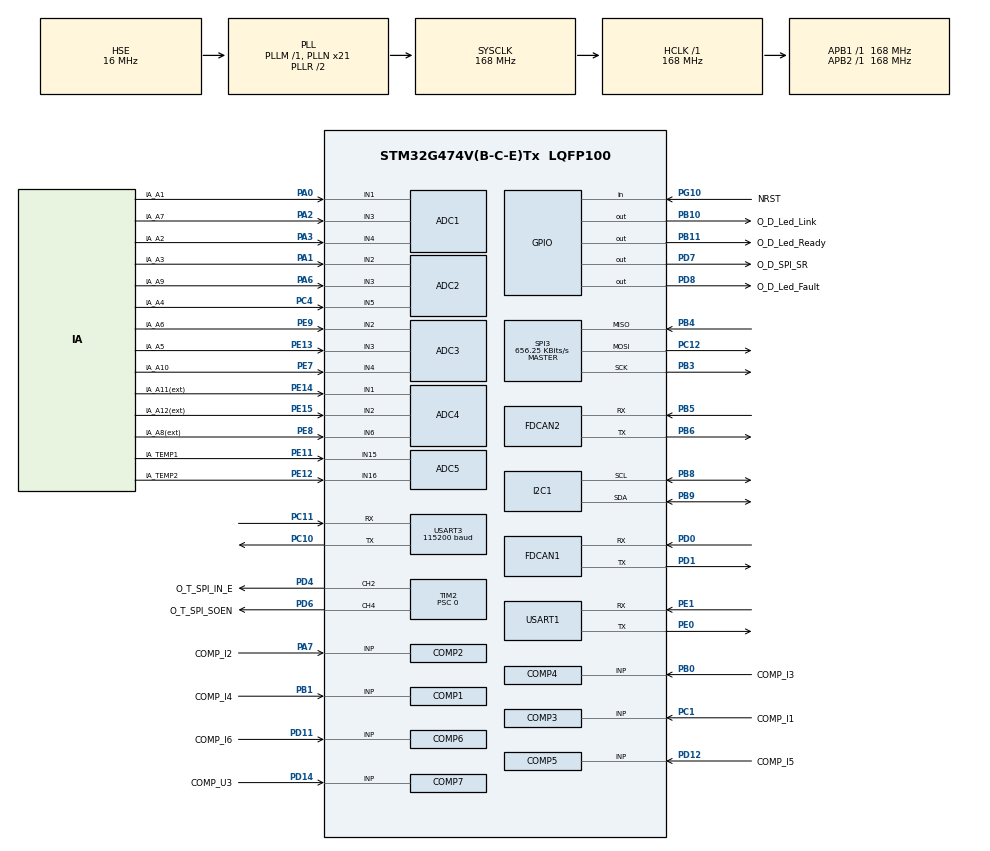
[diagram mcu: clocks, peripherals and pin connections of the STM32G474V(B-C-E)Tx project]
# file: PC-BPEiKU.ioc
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ADC1.EnableInjectedConversion=ENABLE
ADC1.EnableInjectedOversampling=ENABLE
ADC1.EnableRegularConversion=DISABLE
ADC1.ExternalTrigInjecConv=ADC_EXTERNALTRIGINJEC_T3_TRGO
ADC1.InjNumberOfConversion=3
ADC1.InjOversamplingRatio=ADC_OVERSAMPLING_RATIO_16
ADC1.InjectedChannel-6\#ChannelInjectedConversion=ADC_CHANNEL_1
ADC1.InjectedChannel-7\#ChannelInjectedConversion=ADC_CHANNEL_3
ADC1.InjectedChannel-8\#ChannelInjectedConversion=ADC_CHANNEL_4
ADC1.InjectedOffsetNumber-6\#ChannelInjectedConversion=ADC_OFFSET_NONE
ADC1.InjectedOffsetNumber-7\#ChannelInjectedConversion=ADC_OFFSET_NONE
ADC1.InjectedOffsetNumber-8\#ChannelInjectedConversion=ADC_OFFSET_NONE
ADC1.InjectedRank-6\#ChannelInjectedConversion=1
ADC1.InjectedRank-7\#ChannelInjectedConversion=2
ADC1.InjectedRank-8\#ChannelInjectedConversion=3
ADC1.InjectedSamplingTime-6\#ChannelInjectedConversion=ADC_SAMPLETIME_2CYCLES_5
ADC1.InjectedSamplingTime-7\#ChannelInjectedConversion=ADC_SAMPLETIME_2CYCLES_5
ADC1.InjectedSamplingTime-8\#ChannelInjectedConversion=ADC_SAMPLETIME_2CYCLES_5
ADC1.Overrun=ADC_OVR_DATA_OVERWRITTEN
ADC1.Rank1_Channel=ADC_CHANNEL_1
ADC1.Rank2_Channel=ADC_CHANNEL_3
ADC1.Rank3_Channel=ADC_CHANNEL_4
ADC1.master=1
ADC2.EnableInjectedConversion=ENABLE
ADC2.EnableInjectedOversampling=ENABLE
ADC2.EnableRegularConversion=DISABLE
ADC2.ExternalTrigInjecConv=ADC_EXTERNALTRIGINJEC_T3_TRGO
ADC2.InjNumberOfConversion=3
ADC2.InjOversamplingRatio=ADC_OVERSAMPLING_RATIO_16
ADC2.InjectedChannel-11\#ChannelInjectedConversion=ADC_CHANNEL_2
ADC2.InjectedChannel-12\#ChannelInjectedConversion=ADC_CHANNEL_3
ADC2.InjectedChannel-13\#ChannelInjectedConversion=ADC_CHANNEL_5
ADC2.InjectedOffsetNumber-11\#ChannelInjectedConversion=ADC_OFFSET_NONE
ADC2.InjectedOffsetNumber-12\#ChannelInjectedConversion=ADC_OFFSET_NONE
ADC2.InjectedOffsetNumber-13\#ChannelInjectedConversion=ADC_OFFSET_NONE
ADC2.InjectedRank-11\#ChannelInjectedConversion=1
ADC2.InjectedRank-12\#ChannelInjectedConversion=2
ADC2.InjectedRank-13\#ChannelInjectedConversion=3
ADC2.InjectedSamplingTime-11\#ChannelInjectedConversion=ADC_SAMPLETIME_2CYCLES_5
ADC2.InjectedSamplingTime-12\#ChannelInjectedConversion=ADC_SAMPLETIME_2CYCLES_5
ADC2.InjectedSamplingTime-13\#ChannelInjectedConversion=ADC_SAMPLETIME_2CYCLES_5
ADC2.Overrun=ADC_OVR_DATA_OVERWRITTEN
ADC2.Rank1_Channel=ADC_CHANNEL_2
ADC2.Rank2_Channel=ADC_CHANNEL_3
ADC2.Rank3_Channel=ADC_CHANNEL_5
ADC3.EnableInjectedConversion=ENABLE
ADC3.EnableInjectedOversampling=ENABLE
ADC3.EnableRegularConversion=DISABLE
ADC3.ExternalTrigInjecConv=ADC_EXTERNALTRIGINJEC_T3_TRGO
ADC3.InjNumberOfConversion=3
ADC3.InjOversamplingRatio=ADC_OVERSAMPLING_RATIO_16
ADC3.InjectedChannel-10\#ChannelInjectedConversion=ADC_CHANNEL_2
ADC3.InjectedChannel-11\#ChannelInjectedConversion=ADC_CHANNEL_3
ADC3.InjectedChannel-12\#ChannelInjectedConversion=ADC_CHANNEL_4
ADC3.InjectedOffsetNumber-10\#ChannelInjectedConversion=ADC_OFFSET_NONE
ADC3.InjectedOffsetNumber-11\#ChannelInjectedConversion=ADC_OFFSET_NONE
ADC3.InjectedOffsetNumber-12\#ChannelInjectedConversion=ADC_OFFSET_NONE
ADC3.InjectedRank-10\#ChannelInjectedConversion=1
ADC3.InjectedRank-11\#ChannelInjectedConversion=2
ADC3.InjectedRank-12\#ChannelInjectedConversion=3
ADC3.InjectedSamplingTime-10\#ChannelInjectedConversion=ADC_SAMPLETIME_2CYCLES_5
ADC3.InjectedSamplingTime-11\#ChannelInjectedConversion=ADC_SAMPLETIME_2CYCLES_5
ADC3.InjectedSamplingTime-12\#ChannelInjectedConversion=ADC_SAMPLETIME_2CYCLES_5
ADC3.Overrun=ADC_OVR_DATA_OVERWRITTEN
ADC3.Rank1_Channel=ADC_CHANNEL_2
ADC3.Rank2_Channel=ADC_CHANNEL_3
ADC3.Rank3_Channel=ADC_CHANNEL_4
ADC3.master=1
ADC4.EnableInjectedConversion=ENABLE
ADC4.EnableInjectedOversampling=ENABLE
ADC4.EnableRegularConversion=DISABLE
ADC4.ExternalTrigInjecConv=ADC_EXTERNALTRIGINJEC_T3_TRGO
ADC4.InjNumberOfConversion=3
ADC4.InjOversamplingRatio=ADC_OVERSAMPLING_RATIO_16
ADC4.InjectedChannel-1\#ChannelInjectedConversion=ADC_CHANNEL_1
ADC4.InjectedChannel-2\#ChannelInjectedConversion=ADC_CHANNEL_2
ADC4.InjectedChannel-3\#ChannelInjectedConversion=ADC_CHANNEL_6
ADC4.InjectedOffsetNumber-1\#ChannelInjectedConversion=ADC_OFFSET_NONE
ADC4.InjectedOffsetNumber-2\#ChannelInjectedConversion=ADC_OFFSET_NONE
ADC4.InjectedOffsetNumber-3\#ChannelInjectedConversion=ADC_OFFSET_NONE
ADC4.InjectedRank-1\#ChannelInjectedConversion=1
ADC4.InjectedRank-2\#ChannelInjectedConversion=2
ADC4.InjectedRank-3\#ChannelInjectedConversion=3
ADC4.InjectedSamplingTime-1\#ChannelInjectedConversion=ADC_SAMPLETIME_2CYCLES_5
ADC4.InjectedSamplingTime-2\#ChannelInjectedConversion=ADC_SAMPLETIME_2CYCLES_5
ADC4.InjectedSamplingTime-3\#ChannelInjectedConversion=ADC_SAMPLETIME_2CYCLES_5
ADC4.Overrun=ADC_OVR_DATA_OVERWRITTEN
ADC4.Rank1_Channel=ADC_CHANNEL_1
ADC4.Rank2_Channel=ADC_CHANNEL_2
ADC4.Rank3_Channel=ADC_CHANNEL_6
ADC5.ClockPrescaler=ADC_CLOCK_SYNC_PCLK_DIV4
ADC5.EnableInjectedConversion=ENABLE
ADC5.EnableInjectedOversampling=ENABLE
ADC5.EnableRegularConversion=DISABLE
ADC5.ExternalTrigInjecConv=ADC_EXTERNALTRIGINJEC_T3_TRGO
ADC5.InjNumberOfConversion=3
ADC5.InjOversamplingRatio=ADC_OVERSAMPLING_RATIO_16
ADC5.InjectedChannel-1\#ChannelInjectedConversion=ADC_CHANNEL_TEMPSENSOR_ADC5
ADC5.InjectedChannel-2\#ChannelInjectedConversion=ADC_CHANNEL_15
ADC5.InjectedChannel-3\#ChannelInjectedConversion=ADC_CHANNEL_16
ADC5.InjectedOffsetNumber-1\#ChannelInjectedConversion=ADC_OFFSET_NONE
ADC5.InjectedOffsetNumber-2\#ChannelInjectedConversion=ADC_OFFSET_NONE
ADC5.InjectedOffsetNumber-3\#ChannelInjectedConversion=ADC_OFFSET_NONE
ADC5.InjectedRank-1\#ChannelInjectedConversion=1
ADC5.InjectedRank-2\#ChannelInjectedConversion=2
ADC5.InjectedRank-3\#ChannelInjectedConversion=3
ADC5.InjectedSamplingTime-1\#ChannelInjectedConversion=ADC_SAMPLETIME_2CYCLES_5
ADC5.InjectedSamplingTime-2\#ChannelInjectedConversion=ADC_SAMPLETIME_2CYCLES_5
ADC5.InjectedSamplingTime-3\#ChannelInjectedConversion=ADC_SAMPLETIME_2CYCLES_5
ADC5.Overrun=ADC_OVR_DATA_OVERWRITTEN
ADC5.Rank2_Channel=ADC_CHANNEL_15
ADC5.Rank3_Channel=ADC_CHANNEL_16
COMP1.Hysteresis=COMP_HYSTERESIS_HIGH
COMP1.TriggerMode=COMP_TRIGGERMODE_IT_FALLING
COMP2.Hysteresis=COMP_HYSTERESIS_HIGH
COMP2.TriggerMode=COMP_TRIGGERMODE_IT_FALLING
COMP3.Hysteresis=COMP_HYSTERESIS_HIGH
COMP3.TriggerMode=COMP_TRIGGERMODE_IT_FALLING
COMP4.Hysteresis=COMP_HYSTERESIS_HIGH
COMP4.TriggerMode=COMP_TRIGGERMODE_IT_FALLING
COMP5.Hysteresis=COMP_HYSTERESIS_HIGH
COMP5.TriggerMode=COMP_TRIGGERMODE_IT_FALLING
COMP6.Hysteresis=COMP_HYSTERESIS_HIGH
COMP6.TriggerMode=COMP_TRIGGERMODE_IT_FALLING
COMP7.Hysteresis=COMP_HYSTERESIS_HIGH
COMP7.TriggerMode=COMP_TRIGGERMODE_IT_FALLING
DAC1.DAC_Channel-DAC_OUT2_Int=DAC_CHANNEL_2
DAC4.DAC_Channel-DAC_OUT2_Int=DAC_CHANNEL_2
Dma.Request0=USART3_RX
Dma.Request1=USART3_TX
Dma.Request2=USART1_RX
Dma.Request3=USART1_TX
Dma.Request4=SPI3_RX
Dma.Request5=SPI3_TX
Dma.SPI3_RX.4.Direction=DMA_PERIPH_TO_MEMORY
Dma.SPI3_RX.4.EventEnable=DISABLE
Dma.SPI3_RX.4.Instance=DMA1_Channel5
Dma.SPI3_RX.4.MemDataAlignment=DMA_MDATAALIGN_BYTE
Dma.SPI3_RX.4.MemInc=DMA_MINC_ENABLE
Dma.SPI3_RX.4.Mode=DMA_NORMAL
Dma.SPI3_RX.4.PeriphDataAlignment=DMA_PDATAALIGN_BYTE
Dma.SPI3_RX.4.PeriphInc=DMA_PINC_DISABLE
Dma.SPI3_RX.4.Polarity=HAL_DMAMUX_REQ_GEN_RISING
Dma.SPI3_RX.4.Priority=DMA_PRIORITY_LOW
Dma.SPI3_RX.4.RequestNumber=1
Dma.SPI3_RX.4.SignalID=NONE
Dma.SPI3_RX.4.SyncEnable=DISABLE
Dma.SPI3_RX.4.SyncPolarity=HAL_DMAMUX_SYNC_NO_EVENT
Dma.SPI3_RX.4.SyncRequestNumber=1
Dma.SPI3_RX.4.SyncSignalID=NONE
Dma.SPI3_TX.5.Direction=DMA_MEMORY_TO_PERIPH
Dma.SPI3_TX.5.EventEnable=DISABLE
Dma.SPI3_TX.5.Instance=DMA1_Channel6
Dma.SPI3_TX.5.MemDataAlignment=DMA_MDATAALIGN_BYTE
Dma.SPI3_TX.5.MemInc=DMA_MINC_ENABLE
Dma.SPI3_TX.5.Mode=DMA_NORMAL
Dma.SPI3_TX.5.PeriphDataAlignment=DMA_PDATAALIGN_BYTE
Dma.SPI3_TX.5.PeriphInc=DMA_PINC_DISABLE
Dma.SPI3_TX.5.Polarity=HAL_DMAMUX_REQ_GEN_RISING
Dma.SPI3_TX.5.Priority=DMA_PRIORITY_LOW
Dma.SPI3_TX.5.RequestNumber=1
Dma.SPI3_TX.5.SignalID=NONE
Dma.SPI3_TX.5.SyncEnable=DISABLE
Dma.SPI3_TX.5.SyncPolarity=HAL_DMAMUX_SYNC_NO_EVENT
Dma.SPI3_TX.5.SyncRequestNumber=1
Dma.SPI3_TX.5.SyncSignalID=NONE
Dma.USART1_RX.2.Direction=DMA_PERIPH_TO_MEMORY
Dma.USART1_RX.2.EventEnable=DISABLE
Dma.USART1_RX.2.Instance=DMA1_Channel3
Dma.USART1_RX.2.MemDataAlignment=DMA_MDATAALIGN_BYTE
Dma.USART1_RX.2.MemInc=DMA_MINC_ENABLE
Dma.USART1_RX.2.Mode=DMA_NORMAL
Dma.USART1_RX.2.PeriphDataAlignment=DMA_PDATAALIGN_BYTE
Dma.USART1_RX.2.PeriphInc=DMA_PINC_DISABLE
Dma.USART1_RX.2.Polarity=HAL_DMAMUX_REQ_GEN_RISING
Dma.USART1_RX.2.Priority=DMA_PRIORITY_LOW
Dma.USART1_RX.2.RequestNumber=1
Dma.USART1_RX.2.SignalID=NONE
Dma.USART1_RX.2.SyncEnable=DISABLE
Dma.USART1_RX.2.SyncPolarity=HAL_DMAMUX_SYNC_NO_EVENT
Dma.USART1_RX.2.SyncRequestNumber=1
Dma.USART1_RX.2.SyncSignalID=NONE
Dma.USART1_TX.3.Direction=DMA_MEMORY_TO_PERIPH
Dma.USART1_TX.3.EventEnable=DISABLE
Dma.USART1_TX.3.Instance=DMA1_Channel7
Dma.USART1_TX.3.MemDataAlignment=DMA_MDATAALIGN_BYTE
Dma.USART1_TX.3.MemInc=DMA_MINC_ENABLE
Dma.USART1_TX.3.Mode=DMA_NORMAL
Dma.USART1_TX.3.PeriphDataAlignment=DMA_PDATAALIGN_BYTE
Dma.USART1_TX.3.PeriphInc=DMA_PINC_DISABLE
Dma.USART1_TX.3.Polarity=HAL_DMAMUX_REQ_GEN_RISING
Dma.USART1_TX.3.Priority=DMA_PRIORITY_LOW
Dma.USART1_TX.3.RequestNumber=1
Dma.USART1_TX.3.SignalID=NONE
Dma.USART1_TX.3.SyncEnable=DISABLE
Dma.USART1_TX.3.SyncPolarity=HAL_DMAMUX_SYNC_NO_EVENT
Dma.USART1_TX.3.SyncRequestNumber=1
Dma.USART1_TX.3.SyncSignalID=NONE
Dma.USART3_RX.0.Direction=DMA_PERIPH_TO_MEMORY
Dma.USART3_RX.0.EventEnable=DISABLE
Dma.USART3_RX.0.Instance=DMA1_Channel1
Dma.USART3_RX.0.MemDataAlignment=DMA_MDATAALIGN_BYTE
Dma.USART3_RX.0.MemInc=DMA_MINC_ENABLE
Dma.USART3_RX.0.Mode=DMA_NORMAL
Dma.USART3_RX.0.PeriphDataAlignment=DMA_PDATAALIGN_BYTE
Dma.USART3_RX.0.PeriphInc=DMA_PINC_DISABLE
Dma.USART3_RX.0.Polarity=HAL_DMAMUX_REQ_GEN_RISING
Dma.USART3_RX.0.Priority=DMA_PRIORITY_LOW
Dma.USART3_RX.0.RequestNumber=1
Dma.USART3_RX.0.SignalID=NONE
Dma.USART3_RX.0.SyncEnable=DISABLE
Dma.USART3_RX.0.SyncPolarity=HAL_DMAMUX_SYNC_NO_EVENT
Dma.USART3_RX.0.SyncRequestNumber=1
Dma.USART3_RX.0.SyncSignalID=NONE
Dma.USART3_TX.1.Direction=DMA_MEMORY_TO_PERIPH
Dma.USART3_TX.1.EventEnable=DISABLE
Dma.USART3_TX.1.Instance=DMA1_Channel2
Dma.USART3_TX.1.MemDataAlignment=DMA_MDATAALIGN_BYTE
Dma.USART3_TX.1.MemInc=DMA_MINC_ENABLE
Dma.USART3_TX.1.Mode=DMA_NORMAL
Dma.USART3_TX.1.PeriphDataAlignment=DMA_PDATAALIGN_BYTE
Dma.USART3_TX.1.PeriphInc=DMA_PINC_DISABLE
Dma.USART3_TX.1.Polarity=HAL_DMAMUX_REQ_GEN_RISING
Dma.USART3_TX.1.Priority=DMA_PRIORITY_LOW
Dma.USART3_TX.1.RequestNumber=1
Dma.USART3_TX.1.SignalID=NONE
Dma.USART3_TX.1.SyncEnable=DISABLE
Dma.USART3_TX.1.SyncPolarity=HAL_DMAMUX_SYNC_NO_EVENT
Dma.USART3_TX.1.SyncRequestNumber=1
Dma.USART3_TX.1.SyncSignalID=NONE
FDCAN1.AutoRetransmission=ENABLE
FDCAN1.CalculateBaudRateNominal=500000
FDCAN1.CalculateTimeBitNominal=2000
FDCAN1.CalculateTimeQuantumNominal=125.0
FDCAN1.ClockDivider=FDCAN_CLOCK_DIV1
FDCAN1.DataPrescaler=_CAN_PSC
FDCAN1.DataSyncJumpWidth=1
FDCAN1.DataTimeSeg1=_CAN_SEG1
FDCAN1.DataTimeSeg2=_CAN_SEG2
FDCAN1.ExtFiltersNbr=0
FDCAN1.FrameFormat=FDCAN_FRAME_CLASSIC
FDCAN1.Mode=FDCAN_MODE_NORMAL
FDCAN1.NominalPrescaler=_CAN_PSC
FDCAN1.NominalSyncJumpWidth=1
FDCAN1.NominalTimeSeg1=_CAN_SEG1
FDCAN1.NominalTimeSeg2=_CAN_SEG2
FDCAN1.ProtocolException=DISABLE
FDCAN1.StdFiltersNbr=1
FDCAN1.TransmitPause=DISABLE
FDCAN1.TxFifoQueueMode=FDCAN_TX_FIFO_OPERATION
FDCAN2.AutoRetransmission=ENABLE
FDCAN2.CalculateBaudRateNominal=500000
FDCAN2.CalculateTimeBitNominal=2000
FDCAN2.CalculateTimeQuantumNominal=125.0
FDCAN2.DataPrescaler=_CAN_PSC
FDCAN2.DataTimeSeg1=_CAN_SEG1
FDCAN2.DataTimeSeg2=_CAN_SEG2
FDCAN2.NominalPrescaler=_CAN_PSC
FDCAN2.NominalTimeSeg1=_CAN_SEG1
FDCAN2.NominalTimeSeg2=_CAN_SEG2
FDCAN2.StdFiltersNbr=1
HRTIM1.CompareUnit1-No_output_TA=__NULL
HRTIM1.CompareUnit1-No_output_TB=__NULL
HRTIM1.ModeTimeBase-No_output_TC=HRTIM_MODE_CONTINUOUS
HRTIM1.Periode_TA=21000
HRTIM1.Periode_TC=27999
HRTIM1.PrescalerRatio_TA=HRTIM_PRESCALERRATIO_DIV1
HRTIM1.PrescalerRatio_TC=HRTIM_PRESCALERRATIO_DIV1
HRTIM1.UpDownMode-No_output_TC=HRTIM_TIMERUPDOWNMODE_UP
I2C1.Timing=0x60505F8C
Mcu.Family=STM32G4
Mcu.Name=STM32G474V(B-C-E)Tx
Mcu.Package=LQFP100
Mcu.UserConstants=_TIM1K_ARR,(16800-1);_CAN_PSC,_CAN_500_PSC;_TIM1K_PSC,(10-1);_TIM_SPI_INOUT_20KHZ_INE,1000;_HRTIM_PERIOD,10500;_TIM_SPI_INOUT_20KHZ_ARR,(20000-1);_TIM_SPI_INOUT_20KHZ_SOEN,(18000);_CAN_SEG1,_CAN_500_SEG1;_TIM_SPI_INOUT_20KHZ_START,1600;_LAMP_TIM_ARR,8400-1;_CAN_SEG2,_CAN_500_SEG2;_ADC_TIM,_ADC_TIM_24000;_CAN_500_PSC,21;_ADC_TIM_24000,(7000-1);_LED3_TIM_ARR,8400-1;_TIM10K_SPI_START,3000;_HRTIM_DT,300;_CAN_500_SEG1,13;_ADC_TIM_12800,(13125-1);_TIM10K_SPI_IN_E,15000;_CAN_500_SEG2,2;_TIM10K_SPI_ARR,(16800-1);_TIM10K_SPI_SOEN,1000
NVIC.ADC3_IRQn=true\:3\:0\:true\:false\:false\:true\:false\:true
NVIC.COMP1_2_3_IRQn=true\:0\:0\:false\:false\:true\:false\:true\:true
NVIC.COMP4_5_6_IRQn=true\:0\:0\:false\:false\:true\:false\:true\:true
NVIC.COMP7_IRQn=true\:0\:0\:false\:false\:true\:false\:true\:true
NVIC.DMA1_Channel1_IRQn=true\:0\:0\:false\:false\:true\:false\:true\:true
NVIC.DMA1_Channel2_IRQn=true\:0\:0\:false\:false\:true\:false\:true\:true
NVIC.DMA1_Channel3_IRQn=true\:0\:0\:false\:false\:true\:false\:true\:true
NVIC.DMA1_Channel5_IRQn=true\:0\:0\:false\:false\:true\:false\:true\:true
NVIC.DMA1_Channel6_IRQn=true\:0\:0\:false\:false\:true\:false\:true\:true
NVIC.DMA1_Channel7_IRQn=true\:0\:0\:false\:false\:true\:false\:true\:true
NVIC.HRTIM1_TIMA_IRQn=true\:1\:0\:true\:false\:false\:true\:false\:true
NVIC.HRTIM1_TIMD_IRQn=true\:1\:0\:true\:false\:false\:true\:false\:true
NVIC.PriorityGroup=NVIC_PRIORITYGROUP_4
NVIC.TIM1_TRG_COM_TIM17_IRQn=true\:4\:0\:true\:false\:false\:true\:false\:true
NVIC.TIM2_IRQn=true\:1\:0\:true\:false\:false\:true\:false\:true
NVIC.USART1_IRQn=true\:4\:0\:true\:false\:false\:true\:false\:true
NVIC.USART3_IRQn=true\:4\:0\:true\:false\:false\:true\:false\:true
PA0.GPIO_Label=IA_A1
PA0.Mode=IN1-Single-Ended
PA0.Signal=ADC1_IN1
PA1.GPIO_Label=IA_A3
PA1.Mode=IN2-Single-Ended
PA1.Signal=ADC2_IN2
PA10.GPIO_Label=PWM_4H
PA10.Signal=HRTIM1_CHB1
PA11.GPIO_Label=PWM_4L
PA11.Signal=HRTIM1_CHB2
PA13.Mode=Serial_Wire
PA13.Signal=SYS_JTMS-SWDIO
PA14.Mode=Serial_Wire
PA14.Signal=SYS_JTCK-SWCLK
PA2.GPIO_Label=IA_A7
PA2.Mode=IN3-Single-Ended
PA2.Signal=ADC1_IN3
PA3.GPIO_Label=IA_A2
PA3.Mode=IN4-Single-Ended
PA3.Signal=ADC1_IN4
PA6.GPIO_Label=IA_A9
PA6.Mode=IN3-Single-Ended
PA6.Signal=ADC2_IN3
PA7.GPIO_Label=COMP_I2
PA7.Mode=INP
PA7.Signal=COMP2_INP
PA8.GPIO_Label=PWM_6H
PA8.Signal=HRTIM1_CHA1
PA9.GPIO_Label=PWM_6L
PA9.Signal=HRTIM1_CHA2
PB0.GPIO_Label=COMP_I3
PB0.Mode=INP
PB0.Signal=COMP4_INP
PB1.GPIO_Label=COMP_I4
PB1.Mode=INP
PB1.Signal=COMP1_INP
PB10.GPIO_Label=O_D_Led_Link
PB10.Signal=GPIO_Output
PB11.GPIO_Label=O_D_Led_Ready
PB11.Signal=GPIO_Output
PB12.GPIO_Label=PWM_2H
PB12.Signal=HRTIM1_CHC1
PB13.GPIO_Label=PWM_2L
PB13.Signal=HRTIM1_CHC2
PB14.GPIO_Label=PWM_3H
PB14.Signal=HRTIM1_CHD1
PB15.GPIO_Label=PWM_3L
PB15.Signal=HRTIM1_CHD2
PB3.Mode=Full_Duplex_Master
PB3.Signal=SPI3_SCK
PB4.Mode=Full_Duplex_Master
PB4.Signal=SPI3_MISO
PB5.Mode=FDCAN_Activate
PB5.Signal=FDCAN2_RX
PB6.Mode=FDCAN_Activate
PB6.Signal=FDCAN2_TX
PB8-BOOT0.Mode=I2C
PB8-BOOT0.Signal=I2C1_SCL
PB9.Mode=I2C
PB9.Signal=I2C1_SDA
PC1.GPIO_Label=COMP_I1
PC1.Mode=INP
PC1.Signal=COMP3_INP
PC10.Mode=Asynchronous
PC10.Signal=USART3_TX
PC11.GPIO_PuPd=GPIO_PULLDOWN
PC11.Mode=Asynchronous
PC11.Signal=USART3_RX
PC12.Mode=Full_Duplex_Master
PC12.Signal=SPI3_MOSI
PC4.GPIO_Label=IA_A4
PC4.Mode=IN5-Single-Ended
PC4.Signal=ADC2_IN5
PC6.GPIO_Label=PWM_1H
PC6.Signal=HRTIM1_CHF1
PC7.GPIO_Label=PWM_1L
PC7.Signal=HRTIM1_CHF2
PC8.GPIO_Label=PWM_5H
PC8.Signal=HRTIM1_CHE1
PC9.GPIO_Label=PWM_5L
PC9.Signal=HRTIM1_CHE2
PD0.Mode=FDCAN_Activate
PD0.Signal=FDCAN1_RX
PD1.Mode=FDCAN_Activate
PD1.Signal=FDCAN1_TX
PD11.GPIO_Label=COMP_I6
PD11.Mode=INP
PD11.Signal=COMP6_INP
PD12.GPIO_Label=COMP_I5
PD12.Mode=INP
PD12.Signal=COMP5_INP
PD14.GPIO_Label=COMP_U3
PD14.Mode=INP
PD14.Signal=COMP7_INP
PD4.GPIO_Label=O_T_SPI_IN_E
PD4.Signal=S_TIM2_CH2
PD6.GPIO_Label=O_T_SPI_SOEN
PD6.Signal=S_TIM2_CH4
PD7.GPIO_Label=O_D_SPI_SR
PD7.Signal=GPIO_Output
PD8.GPIO_Label=O_D_Led_Fault
PD8.Signal=GPIO_Output
PE0.Mode=Asynchronous
PE0.Signal=USART1_TX
PE1.Mode=Asynchronous
PE1.Signal=USART1_RX
PE11.GPIO_Label=IA_TEMP1
PE11.Mode=IN15-Single-Ended
PE11.Signal=ADC5_IN15
PE12.GPIO_Label=IA_TEMP2
PE12.Mode=IN16-Single-Ended
PE12.Signal=ADC5_IN16
PE13.GPIO_Label=IA_A5
PE13.Mode=IN3-Single-Ended
PE13.Signal=ADC3_IN3
PE14.GPIO_Label=IA_A11(ext)
PE14.Mode=IN1-Single-Ended
PE14.Signal=ADC4_IN1
PE15.GPIO_Label=IA_A12(ext)
PE15.Mode=IN2-Single-Ended
PE15.Signal=ADC4_IN2
PE7.GPIO_Label=IA_A10
PE7.Mode=IN4-Single-Ended
PE7.Signal=ADC3_IN4
PE8.GPIO_Label=IA_A8(ext)
PE8.Mode=IN6-Single-Ended
PE8.Signal=ADC4_IN6
PE9.GPIO_Label=IA_A6
PE9.Mode=IN2-Single-Ended
PE9.Signal=ADC3_IN2
PF0-OSC_IN.Mode=HSE-External-Clock-Source
PF0-OSC_IN.Signal=RCC_OSC_IN
PG10-NRST.GPIO_Label=NRST
PG10-NRST.Signal=GPIO_Input
ProjectManager.HeapSize=0x1000
ProjectManager.StackSize=0x2000
ProjectManager.TargetToolchain=Makefile
RCC.ADC12Freq_Value=168000000
RCC.ADC345Freq_Value=168000000
RCC.AHBFreq_Value=168000000
RCC.APB1Freq_Value=168000000
RCC.APB1TimFreq_Value=168000000
RCC.APB2Freq_Value=168000000
RCC.APB2TimFreq_Value=168000000
RCC.CortexFreq_Value=168000000
RCC.EXTERNAL_CLOCK_VALUE=12288000
RCC.FLatency=FLASH_LATENCY_4
RCC.HCLKFreq_Value=168000000
RCC.HSE_VALUE=16000000
RCC.HSI48_VALUE=48000000
RCC.HSICalibrationValue=16
RCC.HSI_VALUE=16000000
RCC.LSE_VALUE=32768
RCC.PLLN=21
RCC.PLLSourceVirtual=RCC_PLLSOURCE_HSE
RCC.PWR_Regulator_Voltage_Scale=PWR_REGULATOR_VOLTAGE_SCALE1_BOOST
RCC.SYSCLKFreq_VALUE=168000000
RCC.SYSCLKSource=RCC_SYSCLKSOURCE_PLLCLK
RCC.USBFreq_Value=168000000
RCC.VCOOutputFreq_Value=336000000
SH.S_TIM2_CH2.0=TIM2_CH2,PWM Generation2 CH2
SH.S_TIM2_CH4.0=TIM2_CH4,PWM Generation4 CH4
SPI3.BaudRatePrescaler=SPI_BAUDRATEPRESCALER_256
SPI3.CLKPhase=SPI_PHASE_1EDGE
SPI3.CalculateBaudRate=656.25 KBits/s
SPI3.DataSize=SPI_DATASIZE_8BIT
SPI3.Direction=SPI_DIRECTION_2LINES
SPI3.Mode=SPI_MODE_MASTER
SPI3.VirtualType=VM_MASTER
TIM17.PeriodNoDither=_TIM1K_ARR
TIM17.Prescaler=_TIM1K_PSC
TIM2.Channel-Output\ Compare3\ No\ Output=TIM_CHANNEL_3
TIM2.Channel-PWM\ Generation2\ CH2=TIM_CHANNEL_2
TIM2.Channel-PWM\ Generation4\ CH4=TIM_CHANNEL_4
TIM2.CounterMode=TIM_COUNTERMODE_UP
TIM2.OC4Preload_PWM=ENABLE
TIM2.OCPolarity_2=TIM_OCPOLARITY_LOW
TIM2.OCPolarity_3=TIM_OCPOLARITY_HIGH
TIM2.OCPolarity_4=TIM_OCPOLARITY_LOW
TIM2.PeriodNoDither=_TIM_SPI_INOUT_20KHZ_ARR
TIM2.Prescaler=0
TIM2.PulseNoDither_2=_TIM_SPI_INOUT_20KHZ_SOEN
TIM2.PulseNoDither_3=_TIM_SPI_INOUT_20KHZ_START
TIM2.PulseNoDither_4=_TIM_SPI_INOUT_20KHZ_INE
TIM3.Channel-Output\ Compare1\ No\ Output=TIM_CHANNEL_1
TIM3.PeriodNoDither=_ADC_TIM
TIM3.PulseNoDither_1=(_ADC_TIM/2)
TIM3.TIM_MasterOutputTrigger=TIM_TRGO_UPDATE
USART1.VirtualMode-Asynchronous=VM_ASYNC
USART3.AutoBaudRateEnableParam=UART_ADVFEATURE_AUTOBAUDRATE_DISABLE
USART3.BaudRate=115200
USART3.ClockPrescaler=PRESCALER_DIV1
USART3.DMADisableonRxErrorParam=ADVFEATURE_DMA_ENABLEONRXERROR
USART3.DataInvertParam=ADVFEATURE_DATAINV_DISABLE
USART3.FIFOMode=FIFOMODE_DISABLE
USART3.MSBFirstParam=ADVFEATURE_MSBFIRST_DISABLE
USART3.Mode=MODE_TX_RX
USART3.OneBitSampling=UART_ONE_BIT_SAMPLE_DISABLE
USART3.OverSampling=UART_OVERSAMPLING_16
USART3.OverrunDisableParam=ADVFEATURE_OVERRUN_ENABLE
USART3.Parity=PARITY_NONE
USART3.RXFIFOThreshold=RXFIFO_THRESHOLD_1EIGHTHFULL
USART3.RxPinLevelInvertParam=ADVFEATURE_RXINV_DISABLE
USART3.StopBits=STOPBITS_1
USART3.SwapParam=ADVFEATURE_SWAP_DISABLE
USART3.TXFIFOThreshold=TXFIFO_THRESHOLD_1EIGHTHFULL
USART3.TxPinLevelInvertParam=ADVFEATURE_TXINV_DISABLE
USART3.VirtualMode-Asynchronous=VM_ASYNC
USART3.WordLength=WORDLENGTH_8B
VP_ADC5_TempSens_Input.Mode=IN-TempSens
VP_ADC5_Vref_Input.Mode=IN-Vrefint
VP_COMP1_VS_DAC1OUT1.Mode=INM_DAC1OUT1
VP_COMP2_VS_DAC1OUT2.Mode=INM_DAC1OUT2
VP_COMP3_VS_DAC1OUT1.Mode=INM_DAC1OUT1
VP_COMP4_VS_DAC1OUT1.Mode=INM_DAC1OUT1
VP_COMP5_VS_DAC1OUT2.Mode=INM_DAC1OUT2
VP_COMP6_VS_DAC2OUT1.Mode=INM_DAC2OUT1
VP_COMP7_VS_DAC4OUT1.Mode=INM_DAC4OUT1
VP_CORDIC_VS_CORDIC.Mode=CORDIC_Activate
VP_DAC1_VS_DACI1.Mode=DAC_OUT1_Int
VP_DAC1_VS_DACI2.Mode=DAC_OUT2_Int
VP_DAC2_VS_DACI1.Mode=DAC_OUT1_Int
VP_DAC4_VS_DACI1.Mode=DAC_OUT1_Int
VP_DAC4_VS_DACI2.Mode=DAC_OUT2_Int
VP_HRTIM1_VS_hrtimTimerANoOutput.Mode=No_output_TA
VP_HRTIM1_VS_hrtimTimerBNoOutput.Mode=No_output_TB
VP_HRTIM1_VS_hrtimTimerCNoOutput.Mode=No_output_TC
VP_HRTIM1_VS_hrtimTimerDNoOutput.Mode=No_output_TD
VP_HRTIM1_VS_hrtimTimerENoOutput.Mode=No_output_TE
VP_HRTIM1_VS_hrtimTimerFNoOutput.Mode=No_output_TF
VP_SYS_VS_DBSignals.Mode=DisableDeadBatterySignals
VP_TIM17_VS_ClockSourceINT.Mode=Enable_Timer
VP_TIM2_VS_ClockSourceINT.Mode=Internal
VP_TIM2_VS_no_output3.Mode=Output Compare3 No Output
VP_TIM3_VS_ClockSourceINT.Mode=Internal
VP_TIM3_VS_no_output1.Mode=Output Compare1 No Output
board=custom

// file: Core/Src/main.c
/* USER CODE BEGIN Header */
/**
  ******************************************************************************
  * @file           : main.c
  * @brief          : Main program body
  ******************************************************************************
  * @attention
  *
  * Copyright (c) 2024 STMicroelectronics.
  * All rights reserved.
  *
  * This software is licensed under terms that can be found in the LICENSE file
  * in the root directory of this software component.
  * If no LICENSE file comes with this software, it is provided AS-IS.
  *
  ******************************************************************************
  */

/* --------------- ПАМЯТКА ---------------
Нужно в программе STM32CubeProgrammer во вкладке "Options Byts" во вкладке "User Configuration" убрать галку "nSWBOOT0".

Байт "nSWBOOT0" отвечает за запуск прошивки.
Если опция выбрана, то запуск прошивки осуществяется с ножки МК (по аналогии Run/Stop),
в противороложном случае запуск прошивки осуществяется программно (сразу после перепрошивки).

На сдвиговые регистры поинтерфейсу SPI необходимо подать 6 посылок,
а только потом выдать сигнал S_OEN.
Первые две посылки предназначены для управления релейными выходами,
последующие 4 для индикации на разъемах RJ45
--------------- ПАМЯТКА КОНЕЦ--------------- */

/* USER CODE END Header */
#include "main.h"
#include "adc.h"
#include "comp.h"
#include "cordic.h"
#include "dac.h"
#include "dma.h"
#include "fdcan.h"
#include "hrtim.h"
#include "i2c.h"
#include "spi.h"
#include "tim.h"
#include "usart.h"
#include "gpio.h"

/* USER CODE BEGIN Includes */
#include "App.h"
/* USER CODE END Includes */

void SystemClock_Config(void);
/* USER CODE BEGIN PFP */
void main_UART_send(uint8_t *buf, uint8_t count);
/* USER CODE END PFP */

/* USER CODE BEGIN 0 */

 FDCAN_TxHeaderTypeDef CAN_TxHeader;
uint8_t buf[5] = {1,2,3,4,5};

/* USER CODE END 0 */

int main(void)
{

  /* MCU Configuration--------------------------------------------------------*/

  /* Reset of all peripherals, Initializes the Flash interface and the Systick. */
  HAL_Init();

  /* Configure the system clock */
  SystemClock_Config();

  /* Initialize all configured peripherals */
  MX_GPIO_Init();
  MX_DMA_Init();
  MX_FDCAN1_Init();
  MX_USART3_UART_Init();
  MX_ADC2_Init();
  MX_ADC3_Init();
  MX_CORDIC_Init();
  MX_ADC1_Init();
  MX_ADC5_Init();
  MX_DAC1_Init();
  MX_FDCAN2_Init();
  MX_COMP3_Init();
  MX_I2C1_Init();
  MX_USART1_UART_Init();
  MX_ADC4_Init();
  MX_COMP1_Init();
  MX_COMP2_Init();
  MX_COMP4_Init();
  MX_COMP5_Init();
  MX_COMP6_Init();
  MX_COMP7_Init();
  MX_DAC2_Init();
  MX_DAC4_Init();
  MX_TIM17_Init();
  MX_SPI3_Init();
  MX_TIM2_Init();
  MX_TIM3_Init();
  MX_HRTIM1_Init();
  /* USER CODE BEGIN 2 */

  // HAL_DAC_Start(&hdac1,DAC_CHANNEL_1);
  // HAL_DAC_Start(&hdac1,DAC_CHANNEL_2);
  // HAL_DAC_Start(&hdac2,DAC_CHANNEL_1);
  // HAL_DAC_Start(&hdac4,DAC_CHANNEL_1);
  // HAL_DAC_Start(&hdac4,DAC_CHANNEL_2);

  // uint16_t val = 4000;
  // HAL_DAC_SetValue(&hdac1,DAC_CHANNEL_1,DAC_ALIGN_12B_R,val);
  // HAL_DAC_SetValue(&hdac1,DAC_CHANNEL_2,DAC_ALIGN_12B_R,val);
  // HAL_DAC_SetValue(&hdac2,DAC_CHANNEL_1,DAC_ALIGN_12B_R,val);
  // HAL_DAC_SetValue(&hdac4,DAC_CHANNEL_1,DAC_ALIGN_12B_R,val);
  // HAL_DAC_SetValue(&hdac4,DAC_CHANNEL_2,DAC_ALIGN_12B_R,val);

  // HAL_COMP_Start(&hcomp1);
  // HAL_COMP_Start(&hcomp2);
  // HAL_COMP_Start(&hcomp3);
  // HAL_COMP_Start(&hcomp4);
  // HAL_COMP_Start(&hcomp5);
  // HAL_COMP_Start(&hcomp6);
  // HAL_COMP_Start(&hcomp7);

  /* ----------------------  HRTIM PWM --------------------------------*/
  // while (LL_HRTIM_IsActiveFlag_DLLRDY(HRTIM1) == RESET)
  // {
  // }
  // MAIN_INV_SET_PWM_PERIOD(21000);
  // LL_HRTIM_EnableIT_UPDATE(HRTIM1,LL_HRTIM_TIMER_A);
  // MAIN_INV_SET_PWM_1(1000);
  // MAIN_INV_SET_PWM_2(4000);
  // MAIN_INV_SET_PWM_3(8000);
  // MAIN_INV_SET_PWM_4(12000);
  // MAIN_INV_SET_PWM_5(16000);
  // MAIN_INV_SET_PWM_6(20000);
  // // MAIN_INV_SET_PWM_1(10500);
  // // MAIN_INV_SET_PWM_2(10500);
  // // MAIN_INV_SET_PWM_3(10500);
  // // MAIN_INV_SET_PWM_4(10500);
  // // MAIN_INV_SET_PWM_5(10500);
  // // MAIN_INV_SET_PWM_6(10500);
  // MAIN_INV_START_CNT();

  //     MAIN_INV_ENABLE_OUTS();
//MAIN_INV_DISABLE_OUTS();
  asm("NOP");
  /* ----------------------  HRTIM PWM end --------------------------------*/

 /* -------------------------------------- CAN --------------------------------------  */
  /* Configure Rx filter */
  FDCAN_FilterTypeDef CAN_sFilterConfig;
  CAN_sFilterConfig.IdType = FDCAN_STANDARD_ID;
  CAN_sFilterConfig.FilterIndex = 0;
  CAN_sFilterConfig.FilterType = FDCAN_FILTER_RANGE;
  CAN_sFilterConfig.FilterConfig = FDCAN_FILTER_TO_RXFIFO0;
  CAN_sFilterConfig.FilterID1 = 0x0;
  CAN_sFilterConfig.FilterID2 = 0x7FF;
  if (HAL_FDCAN_ConfigFilter(&hfdcan1, &CAN_sFilterConfig) != HAL_OK)
  {
    Error_Handler();
  }
  if (HAL_FDCAN_ConfigFilter(&hfdcan2, &CAN_sFilterConfig) != HAL_OK)
  {
    Error_Handler();
  }

  /* Configure global filter:
     Filter all remote frames with STD and EXT ID
     Reject non matching frames with STD ID and EXT ID */
  if (HAL_FDCAN_ConfigGlobalFilter(&hfdcan1, FDCAN_REJECT, FDCAN_REJECT, FDCAN_FILTER_REMOTE, FDCAN_FILTER_REMOTE) != HAL_OK)
  {
    Error_Handler();
  }
  if (HAL_FDCAN_ConfigGlobalFilter(&hfdcan2, FDCAN_REJECT, FDCAN_REJECT, FDCAN_FILTER_REMOTE, FDCAN_FILTER_REMOTE) != HAL_OK)
  {
    Error_Handler();
  }

  /* Start the FDCAN module */
  if (HAL_FDCAN_Start(&hfdcan1) != HAL_OK)
  {
    Error_Handler();
  }
  if (HAL_FDCAN_Start(&hfdcan2) != HAL_OK)
  {
    Error_Handler();
  }

  if (HAL_FDCAN_ActivateNotification(&hfdcan1, FDCAN_IT_RX_FIFO0_NEW_MESSAGE | FDCAN_IT_ARB_PROTOCOL_ERROR, 0) != HAL_OK)
  {
    Error_Handler();
  }
  if (HAL_FDCAN_ActivateNotification(&hfdcan2, FDCAN_IT_RX_FIFO0_NEW_MESSAGE | FDCAN_IT_ARB_PROTOCOL_ERROR, 0) != HAL_OK)
  {
    Error_Handler();
  }

  /* Prepare Tx Header */
  CAN_TxHeader.Identifier = 0x322;
  CAN_TxHeader.IdType = FDCAN_STANDARD_ID;
  CAN_TxHeader.TxFrameType = FDCAN_DATA_FRAME;
  CAN_TxHeader.DataLength = FDCAN_DLC_BYTES_8;
  CAN_TxHeader.ErrorStateIndicator = FDCAN_ESI_ACTIVE;
  CAN_TxHeader.BitRateSwitch = FDCAN_BRS_OFF;
  CAN_TxHeader.FDFormat = FDCAN_CLASSIC_CAN;
  CAN_TxHeader.TxEventFifoControl = FDCAN_NO_TX_EVENTS;
  CAN_TxHeader.MessageMarker = 0;
  /* -------------------------------------- CAN END-------------------------------------------  */

  app_main();
//-------------------------- управление в App.c ----------------------------------------------------------------

  //app_hardware_init();
  /* USER CODE END 2 */

  /* Infinite loop */
  while (1)
  {

    /* USER CODE BEGIN 3 */

  //BSP_LED_LINK_TOGGLE();
  // HAL_GPIO_TogglePin(O_D_Led_Ready_GPIO_Port,O_D_Led_Ready_Pin);
  // HAL_GPIO_TogglePin(O_D_Led_Fault_GPIO_Port,O_D_Led_Fault_Pin);
  // HAL_Delay(500);

  //main_UART_send(buf,5);

// FDCAN_HandleTypeDef *hcan  = &hfdcan1;
//   while (HAL_FDCAN_GetTxFifoFreeLevel(hcan) == 0)
//   {
//     asm("NOP");
//   }
//   if (HAL_FDCAN_AddMessageToTxFifoQ(
//           hcan,
//           &CAN_TxHeader,
//           modbusBufRxTxRtu485) != HAL_OK)
//   {
//     Error_Handler();
//   }

  //main_UART_send(modbusBufRxTxRtu485,6);
  }
  /* USER CODE END 3 */
}

void SystemClock_Config(void)
{
  RCC_OscInitTypeDef RCC_OscInitStruct = {0};
  RCC_ClkInitTypeDef RCC_ClkInitStruct = {0};

  /** Configure the main internal regulator output voltage
  */
  HAL_PWREx_ControlVoltageScaling(PWR_REGULATOR_VOLTAGE_SCALE1_BOOST);

  /** Initializes the RCC Oscillators according to the specified parameters
  * in the RCC_OscInitTypeDef structure.
  */
  RCC_OscInitStruct.OscillatorType = RCC_OSCILLATORTYPE_HSE;
  RCC_OscInitStruct.HSEState = RCC_HSE_BYPASS;
  RCC_OscInitStruct.PLL.PLLState = RCC_PLL_ON;
  RCC_OscInitStruct.PLL.PLLSource = RCC_PLLSOURCE_HSE;
  RCC_OscInitStruct.PLL.PLLM = RCC_PLLM_DIV1;
  RCC_OscInitStruct.PLL.PLLN = 21;
  RCC_OscInitStruct.PLL.PLLP = RCC_PLLP_DIV2;
  RCC_OscInitStruct.PLL.PLLQ = RCC_PLLQ_DIV2;
  RCC_OscInitStruct.PLL.PLLR = RCC_PLLR_DIV2;
  if (HAL_RCC_OscConfig(&RCC_OscInitStruct) != HAL_OK)
  {
    Error_Handler();
  }

  /** Initializes the CPU, AHB and APB buses clocks
  */
  RCC_ClkInitStruct.ClockType = RCC_CLOCKTYPE_HCLK|RCC_CLOCKTYPE_SYSCLK
                              |RCC_CLOCKTYPE_PCLK1|RCC_CLOCKTYPE_PCLK2;
  RCC_ClkInitStruct.SYSCLKSource = RCC_SYSCLKSOURCE_PLLCLK;
  RCC_ClkInitStruct.AHBCLKDivider = RCC_SYSCLK_DIV1;
  RCC_ClkInitStruct.APB1CLKDivider = RCC_HCLK_DIV1;
  RCC_ClkInitStruct.APB2CLKDivider = RCC_HCLK_DIV1;

  if (HAL_RCC_ClockConfig(&RCC_ClkInitStruct, FLASH_LATENCY_4) != HAL_OK)
  {
    Error_Handler();
  }
}

/* USER CODE BEGIN 4 */
void main_UART_send(uint8_t *buf, uint8_t count)
{
    //asm("NOP");
    UART_HandleTypeDef* port = &huart1;
  port->hdmatx->State = HAL_DMA_STATE_READY;
  __HAL_UNLOCK(port->hdmatx);
  HAL_DMA_Start(port->hdmatx, (uint32_t)buf, (uint32_t)&port->Instance->TDR, count);
  port->Instance->CR3 |= USART_CR3_DMAT;
  //HAL_UART_Transmit_IT(huart3.hdmatx, buf,count);
}

void HAL_COMP_TriggerCallback(COMP_HandleTypeDef *hcomp){

  asm("NOP");

    if(hcomp == &hcomp1){

    }else if(hcomp == &hcomp2){

    }else if(hcomp == &hcomp3){

    }else if(hcomp == &hcomp4){

    }else if(hcomp == &hcomp5){

    }else if(hcomp == &hcomp6){

    }else if(hcomp == &hcomp7){

    }else{
      asm("NOP");
    }

}

/* USER CODE END 4 */

void Error_Handler(void)
{
  __disable_irq();
  while (1)
  {
  }
}
